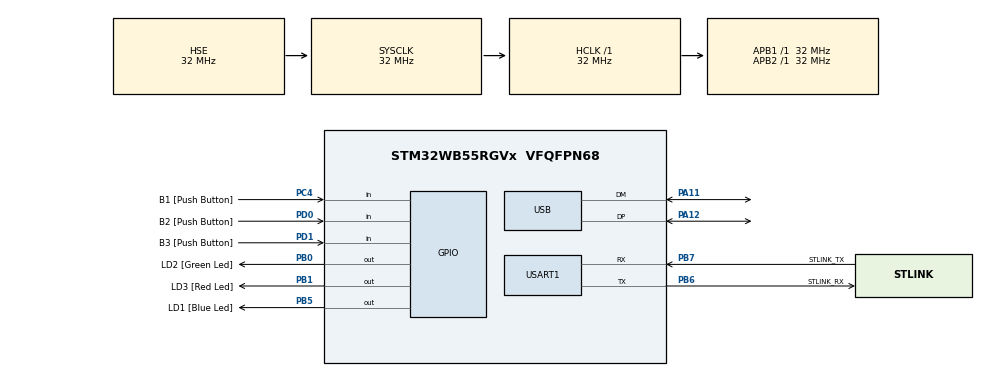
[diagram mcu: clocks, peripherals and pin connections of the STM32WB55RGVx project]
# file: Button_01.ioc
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Mcu.Family=STM32WB
Mcu.Name=STM32WB55RGVx
Mcu.Package=VFQFPN68
NVIC.PriorityGroup=NVIC_PRIORITYGROUP_4
OSC_IN.Mode=HSE-External-Oscillator
OSC_IN.Signal=RCC_OSC_IN
OSC_OUT.Mode=HSE-External-Oscillator
OSC_OUT.Signal=RCC_OSC_OUT
PA11.Mode=Device
PA11.Signal=USB_DM
PA12.Mode=Device
PA12.Signal=USB_DP
PA13.GPIO_Label=JTMS
PA13.Mode=Trace_Asynchronous_SW
PA13.Signal=SYS_JTMS-SWDIO
PA14.GPIO_Label=JTCK
PA14.Mode=Trace_Asynchronous_SW
PA14.Signal=SYS_JTCK-SWCLK
PB0.GPIO_Label=LD2 [Green Led]
PB0.Signal=GPIO_Output
PB1.GPIO_Label=LD3 [Red Led]
PB1.Signal=GPIO_Output
PB3.GPIO_Label=JTDO
PB3.Mode=Trace_Asynchronous_SW
PB3.Signal=SYS_JTDO-SWO
PB5.GPIO_Label=LD1 [Blue Led]
PB5.Signal=GPIO_Output
PB6.GPIO_Label=STLINK_RX
PB6.GPIO_PuPd=GPIO_PULLUP
PB6.Mode=Asynchronous
PB6.Signal=USART1_TX
PB7.GPIO_Label=STLINK_TX
PB7.GPIO_PuPd=GPIO_PULLUP
PB7.Mode=Asynchronous
PB7.Signal=USART1_RX
PC13.Mode=SYS_WakeUp1
PC13.Signal=SYS_WKUP2
PC14-OSC32_IN.Mode=LSE-External-Oscillator
PC14-OSC32_IN.Signal=RCC_OSC32_IN
PC15-OSC32_OUT.Mode=LSE-External-Oscillator
PC15-OSC32_OUT.Signal=RCC_OSC32_OUT
PC4.GPIO_Label=B1 [Push Button]
PC4.Signal=GPIO_Input
PD0.GPIO_Label=B2 [Push Button]
PD0.Signal=GPIO_Input
PD1.GPIO_Label=B3 [Push Button]
PD1.Signal=GPIO_Input
ProjectManager.HeapSize=0x200
ProjectManager.StackSize=0x400
ProjectManager.TargetToolchain=STM32CubeIDE
RCC.ADCFreq_Value=48000000
RCC.AHBFreq_Value=32000000
RCC.APB1Freq_Value=32000000
RCC.APB1TimFreq_Value=32000000
RCC.APB2Freq_Value=32000000
RCC.APB2TimFreq_Value=32000000
RCC.APB3Freq_Value=16000000
RCC.CortexFreq_Value=32000000
RCC.HCLKFreq_Value=32000000
RCC.HSE_VALUE=32000000
RCC.HSI48_VALUE=48000000
RCC.HSI_VALUE=16000000
RCC.LSE_Drive_Capability=RCC_LSEDRIVE_LOW
RCC.PLLN=32
RCC.PLLSAI1N=24
RCC.SMPSCLockSelectionVirtual=RCC_SMPSCLKSOURCE_HSI
RCC.SMPSCLockSelectionVirtualVirtual=RCC_SMPSCLKSOURCE_HSI
RCC.SMPSDivider=1
RCC.SYSCLKFreq_VALUE=32000000
RCC.SYSCLKSource=RCC_SYSCLKSOURCE_HSE
RCC.USBFreq_Value=48000000
RCC.VCOOutputFreq_Value=128000000
USART1.VirtualMode-Asynchronous=VM_ASYNC
USART1.WordLength=WORDLENGTH_7B
board=NUCLEO-WB55RG

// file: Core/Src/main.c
/* USER CODE BEGIN Header */
/**
  ******************************************************************************
  * @file           : main.c
  * @brief          : Main program body
  ******************************************************************************
  * @attention
  *
  * Copyright (c) 2023 STMicroelectronics.
  * All rights reserved.
  *
  * This software is licensed under terms that can be found in the LICENSE file
  * in the root directory of this software component.
  * If no LICENSE file comes with this software, it is provided AS-IS.
  *
  ******************************************************************************
  */
/* USER CODE END Header */
#include "main.h"

/* USER CODE BEGIN Includes */
#include "stdlib.h"
#include "stdio.h"
/* USER CODE END Includes */

UART_HandleTypeDef huart1;

PCD_HandleTypeDef hpcd_USB_FS;

void SystemClock_Config(void);
void PeriphCommonClock_Config(void);
static void MX_GPIO_Init(void);
static void MX_USART1_UART_Init(void);
static void MX_USB_PCD_Init(void);
/* USER CODE BEGIN PFP */
int _write(int file, char *ptr, int len);
/* USER CODE END PFP */

/* USER CODE BEGIN 0 */
int _write(int file, char *ptr, int len)
{
int DataIdx;
for (DataIdx = 0; DataIdx < len; DataIdx++)
{
//__io_putchar(*ptr++);
ITM_SendChar(*ptr++);
}
return len;
}
/* USER CODE END 0 */

int main(void)
{

  /* MCU Configuration--------------------------------------------------------*/

  /* Reset of all peripherals, Initializes the Flash interface and the Systick. */
  HAL_Init();

  /* Configure the system clock */
  SystemClock_Config();

/* Configure the peripherals common clocks */
  PeriphCommonClock_Config();

  /* Initialize all configured peripherals */
  MX_GPIO_Init();
  MX_USART1_UART_Init();
  MX_USB_PCD_Init();

  /* Infinite loop */
  while (1)
  {

    /* USER CODE BEGIN 3 */
	  if(HAL_GPIO_ReadPin(GPIOC,GPIO_PIN_4)==1){
		  while(HAL_GPIO_ReadPin(GPIOC,GPIO_PIN_4)==1){
			  printf(" ****** ALERTE PORTE OUVERTE ! ****** \n");
			  HAL_Delay(3000);
		  }
	  }
	  else{
		  printf("  PORTE OK  \n");
		  HAL_Delay(3000);
	  }

  }
  /* USER CODE END 3 */
}

void SystemClock_Config(void)
{
  RCC_OscInitTypeDef RCC_OscInitStruct = {0};
  RCC_ClkInitTypeDef RCC_ClkInitStruct = {0};

  /** Macro to configure the PLL multiplication factor
  */
  __HAL_RCC_PLL_PLLM_CONFIG(RCC_PLLM_DIV1);

  /** Macro to configure the PLL clock source
  */
  __HAL_RCC_PLL_PLLSOURCE_CONFIG(RCC_PLLSOURCE_MSI);

  /** Configure LSE Drive Capability
  */
  HAL_PWR_EnableBkUpAccess();
  __HAL_RCC_LSEDRIVE_CONFIG(RCC_LSEDRIVE_LOW);

  /** Configure the main internal regulator output voltage
  */
  __HAL_PWR_VOLTAGESCALING_CONFIG(PWR_REGULATOR_VOLTAGE_SCALE1);

  /** Initializes the RCC Oscillators according to the specified parameters
  * in the RCC_OscInitTypeDef structure.
  */
  RCC_OscInitStruct.OscillatorType = RCC_OSCILLATORTYPE_HSI|RCC_OSCILLATORTYPE_HSE
                              |RCC_OSCILLATORTYPE_LSE|RCC_OSCILLATORTYPE_MSI;
  RCC_OscInitStruct.HSEState = RCC_HSE_ON;
  RCC_OscInitStruct.LSEState = RCC_LSE_ON;
  RCC_OscInitStruct.HSIState = RCC_HSI_ON;
  RCC_OscInitStruct.MSIState = RCC_MSI_ON;
  RCC_OscInitStruct.HSICalibrationValue = RCC_HSICALIBRATION_DEFAULT;
  RCC_OscInitStruct.MSICalibrationValue = RCC_MSICALIBRATION_DEFAULT;
  RCC_OscInitStruct.MSIClockRange = RCC_MSIRANGE_6;
  RCC_OscInitStruct.PLL.PLLState = RCC_PLL_NONE;
  if (HAL_RCC_OscConfig(&RCC_OscInitStruct) != HAL_OK)
  {
    Error_Handler();
  }

  /** Configure the SYSCLKSource, HCLK, PCLK1 and PCLK2 clocks dividers
  */
  RCC_ClkInitStruct.ClockType = RCC_CLOCKTYPE_HCLK4|RCC_CLOCKTYPE_HCLK2
                              |RCC_CLOCKTYPE_HCLK|RCC_CLOCKTYPE_SYSCLK
                              |RCC_CLOCKTYPE_PCLK1|RCC_CLOCKTYPE_PCLK2;
  RCC_ClkInitStruct.SYSCLKSource = RCC_SYSCLKSOURCE_HSE;
  RCC_ClkInitStruct.AHBCLKDivider = RCC_SYSCLK_DIV1;
  RCC_ClkInitStruct.APB1CLKDivider = RCC_HCLK_DIV1;
  RCC_ClkInitStruct.APB2CLKDivider = RCC_HCLK_DIV1;
  RCC_ClkInitStruct.AHBCLK2Divider = RCC_SYSCLK_DIV1;
  RCC_ClkInitStruct.AHBCLK4Divider = RCC_SYSCLK_DIV1;

  if (HAL_RCC_ClockConfig(&RCC_ClkInitStruct, FLASH_LATENCY_1) != HAL_OK)
  {
    Error_Handler();
  }

  /** Enable MSI Auto calibration
  */
  HAL_RCCEx_EnableMSIPLLMode();
}

void PeriphCommonClock_Config(void)
{
  RCC_PeriphCLKInitTypeDef PeriphClkInitStruct = {0};

  /** Initializes the peripherals clock
  */
  PeriphClkInitStruct.PeriphClockSelection = RCC_PERIPHCLK_SMPS;
  PeriphClkInitStruct.SmpsClockSelection = RCC_SMPSCLKSOURCE_HSI;
  PeriphClkInitStruct.SmpsDivSelection = RCC_SMPSCLKDIV_RANGE0;

  if (HAL_RCCEx_PeriphCLKConfig(&PeriphClkInitStruct) != HAL_OK)
  {
    Error_Handler();
  }
}

static void MX_USART1_UART_Init(void)
{

  huart1.Instance = USART1;
  huart1.Init.BaudRate = 115200;
  huart1.Init.WordLength = UART_WORDLENGTH_7B;
  huart1.Init.StopBits = UART_STOPBITS_1;
  huart1.Init.Parity = UART_PARITY_NONE;
  huart1.Init.Mode = UART_MODE_TX_RX;
  huart1.Init.HwFlowCtl = UART_HWCONTROL_NONE;
  huart1.Init.OverSampling = UART_OVERSAMPLING_16;
  huart1.Init.OneBitSampling = UART_ONE_BIT_SAMPLE_DISABLE;
  huart1.Init.ClockPrescaler = UART_PRESCALER_DIV1;
  huart1.AdvancedInit.AdvFeatureInit = UART_ADVFEATURE_NO_INIT;
  if (HAL_UART_Init(&huart1) != HAL_OK)
  {
    Error_Handler();
  }
  if (HAL_UARTEx_SetTxFifoThreshold(&huart1, UART_TXFIFO_THRESHOLD_1_8) != HAL_OK)
  {
    Error_Handler();
  }
  if (HAL_UARTEx_SetRxFifoThreshold(&huart1, UART_RXFIFO_THRESHOLD_1_8) != HAL_OK)
  {
    Error_Handler();
  }
  if (HAL_UARTEx_DisableFifoMode(&huart1) != HAL_OK)
  {
    Error_Handler();
  }

}

static void MX_USB_PCD_Init(void)
{

  hpcd_USB_FS.Instance = USB;
  hpcd_USB_FS.Init.dev_endpoints = 8;
  hpcd_USB_FS.Init.speed = PCD_SPEED_FULL;
  hpcd_USB_FS.Init.phy_itface = PCD_PHY_EMBEDDED;
  hpcd_USB_FS.Init.Sof_enable = DISABLE;
  hpcd_USB_FS.Init.low_power_enable = DISABLE;
  hpcd_USB_FS.Init.lpm_enable = DISABLE;
  hpcd_USB_FS.Init.battery_charging_enable = DISABLE;
  if (HAL_PCD_Init(&hpcd_USB_FS) != HAL_OK)
  {
    Error_Handler();
  }

}

static void MX_GPIO_Init(void)
{
  GPIO_InitTypeDef GPIO_InitStruct = {0};

  /* GPIO Ports Clock Enable */
  __HAL_RCC_GPIOC_CLK_ENABLE();
  __HAL_RCC_GPIOB_CLK_ENABLE();
  __HAL_RCC_GPIOA_CLK_ENABLE();
  __HAL_RCC_GPIOD_CLK_ENABLE();

  /*Configure GPIO pin Output Level */
  HAL_GPIO_WritePin(GPIOB, LD2_Pin|LD3_Pin|LD1_Pin, GPIO_PIN_RESET);

  /*Configure GPIO pin : B1_Pin */
  GPIO_InitStruct.Pin = B1_Pin;
  GPIO_InitStruct.Mode = GPIO_MODE_INPUT;
  GPIO_InitStruct.Pull = GPIO_NOPULL;
  HAL_GPIO_Init(B1_GPIO_Port, &GPIO_InitStruct);

  /*Configure GPIO pins : LD2_Pin LD3_Pin LD1_Pin */
  GPIO_InitStruct.Pin = LD2_Pin|LD3_Pin|LD1_Pin;
  GPIO_InitStruct.Mode = GPIO_MODE_OUTPUT_PP;
  GPIO_InitStruct.Pull = GPIO_NOPULL;
  GPIO_InitStruct.Speed = GPIO_SPEED_FREQ_LOW;
  HAL_GPIO_Init(GPIOB, &GPIO_InitStruct);

  /*Configure GPIO pins : B2_Pin B3_Pin */
  GPIO_InitStruct.Pin = B2_Pin|B3_Pin;
  GPIO_InitStruct.Mode = GPIO_MODE_INPUT;
  GPIO_InitStruct.Pull = GPIO_NOPULL;
  HAL_GPIO_Init(GPIOD, &GPIO_InitStruct);

}

void Error_Handler(void)
{
  __disable_irq();
  while (1)
  {
  }
}
